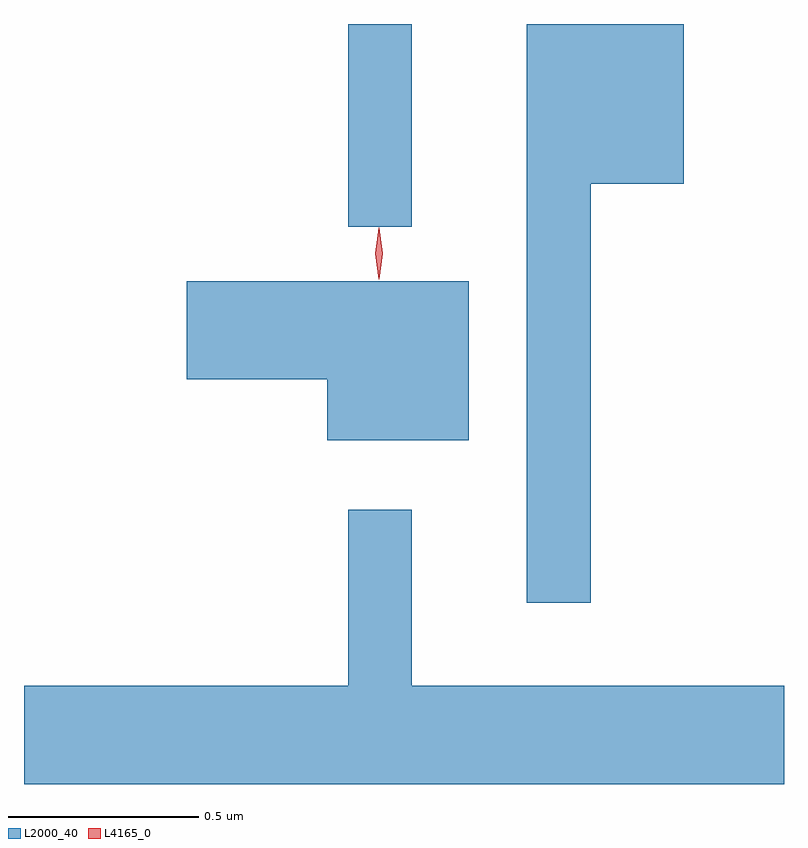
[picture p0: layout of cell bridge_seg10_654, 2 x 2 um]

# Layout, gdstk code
import gdstk
lib = gdstk.Library(unit=1e-6, precision=1e-09)
def R(c, l, rs):  # rectangles x0, y0, x1, y1
    for r in rs: c.add(gdstk.rectangle(r[:2], r[2:], *l))
def P(c, l, *ps):  # polygons
    for p in ps: c.add(gdstk.Polygon(p, *l))
L2000_40 = (2000, 40)
L4165_0 = (4165, 0)

bridge_seg10_654 = lib.new_cell('bridge_seg10_654')
R(bridge_seg10_654, L2000_40, [(750.001,2099.853,750.169,2100.386)])
P(bridge_seg10_654, L2000_40, [(750.639,2099.966),(750.884,2099.966),(750.884,2100.386),(750.471,2100.386),(750.471,2098.863),(750.639,2098.863)],
  [(750.319,2099.709),(749.576,2099.709),(749.576,2099.451),(749.946,2099.451),(749.946,2099.291),(750.319,2099.291)],
  [(751.148,2098.644),(750.169,2098.644),(750.169,2099.108),(750.001,2099.108),(750.001,2098.644),(749.148,2098.644),(749.148,2098.386),(751.148,2098.386)])
P(bridge_seg10_654, L4165_0, [(750.082,2099.72),(750.082,2099.72),(750.072,2099.783),(750.082,2099.846),(750.082,2099.847),(750.083,2099.846),(750.092,2099.783),(750.083,2099.72)],
  [(750.082,2099.714),(750.082,2099.714),(750.072,2099.782),(750.082,2099.85),(750.082,2099.85),(750.083,2099.85),(750.092,2099.782),(750.083,2099.714)])

lib.write_gds('bridge_seg10_654.gds')
